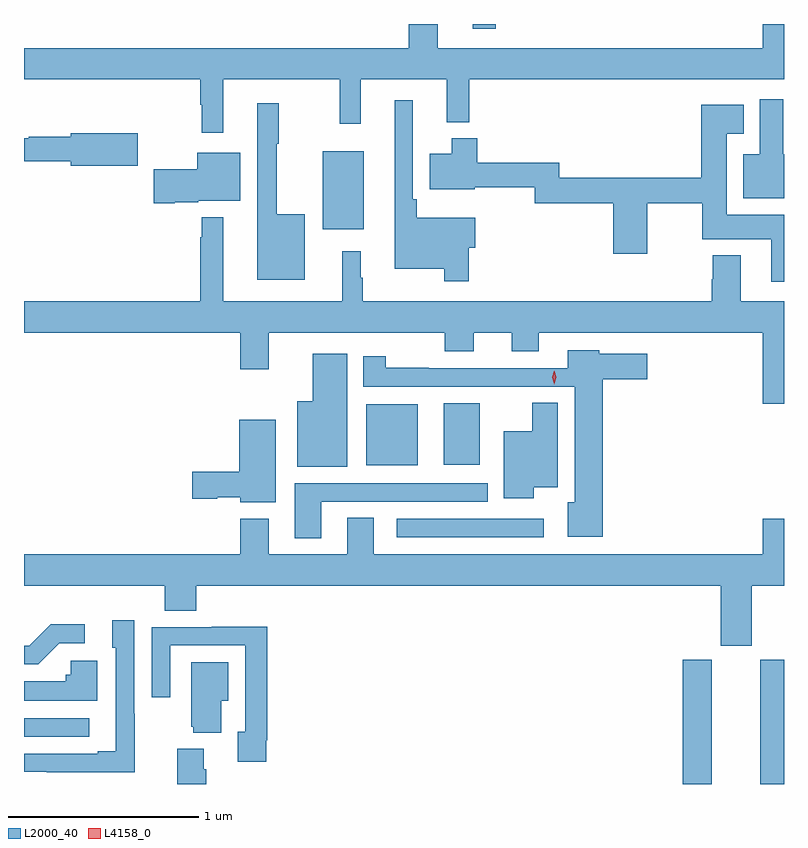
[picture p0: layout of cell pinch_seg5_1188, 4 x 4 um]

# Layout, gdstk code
import gdstk
lib = gdstk.Library(unit=1e-6, precision=1e-09)
def R(c, l, rs):  # rectangles x0, y0, x1, y1
    for r in rs: c.add(gdstk.rectangle(r[:2], r[2:], *l))
def P(c, l, *ps):  # polygons
    for p in ps: c.add(gdstk.Polygon(p, *l))
L2000_40 = (2000, 40)
L4158_0 = (4158, 0)

pinch_seg5_1188 = lib.new_cell('pinch_seg5_1188')
R(pinch_seg5_1188, L2000_40, [(416.336,908.996,416.488,909.651), (416.744,908.996,416.868,909.651), (412.868,909.246,413.212,909.342), (414.831,910.296,415.603,910.392), (414.668,910.673,414.94,910.996), (415.076,910.676,415.267,910.999), (414.44,911.915,414.655,912.325), (415.229,912.972,415.351,912.996)])
P(pinch_seg5_1188, L2000_40, [(413.917,912.704),(414.531,912.704),(414.531,912.471),(414.641,912.471),(414.641,912.704),(415.094,912.704),(415.094,912.479),(415.211,912.479),(415.211,912.704),(416.868,912.704),(416.868,912.996),(416.756,912.996),(416.756,912.868),(415.045,912.868),(415.045,912.996),(414.893,912.996),(414.893,912.868),(412.868,912.868),(412.868,912.704),(413.796,912.704),(413.796,912.572),(413.803,912.572),(413.803,912.423),(413.917,912.423)],
  [(416.868,912.31),(416.863,912.31),(416.863,912.601),(416.741,912.601),(416.741,912.31),(416.654,912.31),(416.654,912.08),(416.868,912.08)],
  [(415.208,911.819),(415.243,911.819),(415.243,911.977),(414.935,911.977),(414.935,912.073),(414.915,912.073),(414.915,912.595),(414.818,912.595),(414.818,911.708),(415.08,911.708),(415.08,911.643),(415.208,911.643)],
  [(414.346,911.995),(414.199,911.995),(414.199,912.367),(414.209,912.367),(414.209,912.58),(414.095,912.58),(414.095,911.651),(414.346,911.651)],
  [(416.868,911.992),(416.566,911.992),(416.566,912.419),(416.656,912.419),(416.656,912.571),(416.432,912.571),(416.432,912.188),(415.685,912.188),(415.685,912.265),(415.253,912.265),(415.253,912.394),(415.118,912.394),(415.118,912.313),(415.004,912.313),(415.004,912.125),(415.24,912.125),(415.24,912.136),(415.557,912.136),(415.557,912.052),(415.97,912.052),(415.97,911.787),(416.148,911.787),(416.148,912.052),(416.437,912.052),(416.437,911.864),(416.801,911.864),(416.801,911.64),(416.868,911.64)],
  [(413.467,912.421),(413.114,912.421),(413.114,912.403),(412.894,912.403),(412.894,912.396),(412.868,912.396),(412.868,912.274),(413.114,912.274),(413.114,912.251),(413.467,912.251)],
  [(413.662,912.059),(413.784,912.059),(413.784,912.065),(414.007,912.065),(414.007,912.319),(413.78,912.319),(413.78,912.231),(413.55,912.231),(413.55,912.053),(413.662,912.053)],
  [(413.917,911.98),(413.803,911.98),(413.803,911.873),(413.796,911.873),(413.796,911.536),(412.868,911.536),(412.868,911.372),(414.005,911.372),(414.005,911.178),(414.157,911.178),(414.157,911.372),(415.082,911.372),(415.082,911.273),(415.234,911.273),(415.234,911.372),(415.436,911.372),(415.436,911.273),(415.576,911.273),(415.576,911.372),(416.756,911.372),(416.756,910.998),(416.868,910.998),(416.868,911.536),(416.641,911.536),(416.641,911.779),(416.494,911.779),(416.494,911.652),(416.489,911.652),(416.489,911.536),(414.652,911.536),(414.652,911.66),(414.64,911.66),(414.64,911.8),(414.542,911.8),(414.542,911.536),(413.917,911.536)],
  [(415.913,911.126),(416.149,911.126),(416.149,911.26),(415.896,911.26),(415.896,911.278),(415.73,911.278),(415.73,911.184),(414.998,911.184),(414.998,911.186),(414.771,911.186),(414.771,911.248),(414.653,911.248),(414.653,911.088),(415.766,911.088),(415.766,910.48),(415.73,910.48),(415.73,910.298),(415.913,910.298)],
  [(414.568,911.26),(414.389,911.26),(414.389,911.011),(414.305,911.011),(414.305,910.667),(414.568,910.667)],
  [(415.552,910.559),(415.678,910.559),(415.678,911.003),(415.544,911.003),(415.544,910.852),(415.394,910.852),(415.394,910.5),(415.552,910.5)],
  [(414.193,910.912),(414.002,910.912),(414.002,910.64),(413.754,910.64),(413.754,910.498),(413.886,910.498),(413.886,910.505),(414.006,910.505),(414.006,910.478),(414.193,910.478)],
  [(414.433,910.482),(415.309,910.482),(415.309,910.578),(414.293,910.578),(414.293,910.29),(414.433,910.29)],
  [(416.698,910.04),(416.868,910.04),(416.868,910.393),(416.756,910.393),(416.756,910.204),(414.709,910.204),(414.709,910.397),(414.569,910.397),(414.569,910.204),(414.157,910.204),(414.157,910.393),(414.005,910.393),(414.005,910.204),(412.868,910.204),(412.868,910.04),(413.609,910.04),(413.609,909.907),(413.774,909.907),(413.774,910.04),(416.534,910.04),(416.534,909.723),(416.698,909.723)],
  [(413.451,909.365),(413.448,909.365),(413.448,909.859),(413.333,909.859),(413.333,909.714),(413.352,909.714),(413.352,909.169),(413.255,909.169),(413.255,909.156),(412.868,909.156),(412.868,909.06),(412.987,909.06),(412.987,909.059),(413.451,909.059)],
  [(413.053,909.738),(413.188,909.738),(413.188,909.836),(413.009,909.836),(412.896,909.723),(412.868,909.723),(412.868,909.627),(412.942,909.627)],
  [(414.142,909.226),(414.149,909.226),(414.149,909.824),(413.857,909.824),(413.857,909.822),(413.541,909.822),(413.541,909.453),(413.637,909.453),(413.637,909.726),(414.033,909.726),(414.033,909.27),(413.993,909.27),(413.993,909.114),(414.142,909.114)],
  [(413.254,909.646),(413.115,909.646),(413.115,909.57),(413.089,909.57),(413.089,909.538),(412.868,909.538),(412.868,909.434),(413.254,909.434)],
  [(413.905,909.434),(413.944,909.434),(413.944,909.637),(413.747,909.637),(413.747,909.297),(413.759,909.297),(413.759,909.266),(413.905,909.266)],
  [(413.828,909.074),(413.815,909.074),(413.815,909.181),(413.675,909.181),(413.675,908.996),(413.828,908.996)])
P(pinch_seg5_1188, L4158_0, [(415.658,911.101),(415.658,911.102),(415.648,911.137),(415.658,911.172),(415.658,911.172),(415.659,911.172),(415.668,911.137),(415.659,911.102)])

lib.write_gds('pinch_seg5_1188.gds')
